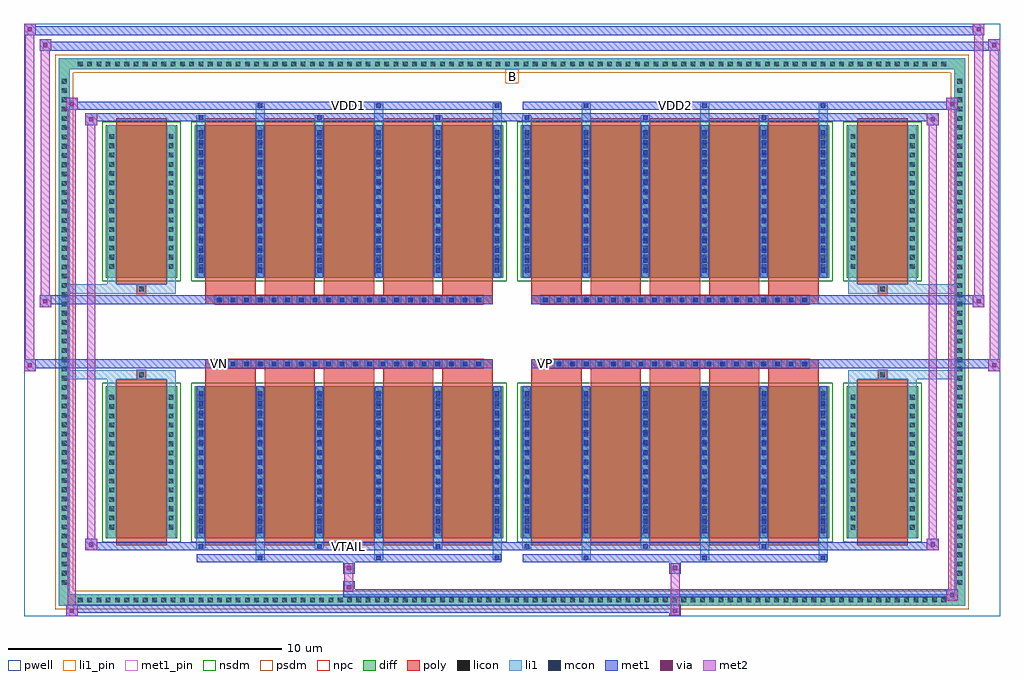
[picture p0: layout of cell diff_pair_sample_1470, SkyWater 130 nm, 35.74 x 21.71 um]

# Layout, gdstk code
import gdstk
lib = gdstk.Library(unit=1e-6, precision=5e-09)
def R(c, l, rs):  # rectangles x0, y0, x1, y1
    for r in rs: c.add(gdstk.rectangle(r[:2], r[2:], *l))
def A(c, l, x, y, w, h, nx, ny, dx, dy):  # array of equal rectangles
    R(c, l, [(x+i*dx, y+j*dy, x+i*dx+w, y+j*dy+h) for i in range(nx) for j in range(ny)])
def P(c, l, *ps):  # polygons
    for p in ps: c.add(gdstk.Polygon(p, *l))
pwell = (64, 44)
diff = (65, 20)
poly = (66, 20)
licon = (66, 44)
li1_pin = (67, 16)
li1 = (67, 20)
mcon = (67, 44)
met1_pin = (68, 16)
met1 = (68, 20)
via = (68, 44)
met2 = (69, 20)
nsdm = (93, 44)
psdm = (94, 20)
npc = (95, 20)

diff_pair_sample_1470 = lib.new_cell('diff_pair_sample_1470')
R(diff_pair_sample_1470, pwell, [(-17.87,-10.42,17.87,11.29), (-15.19,-8.61,-0.01,-0.805), (0.01,-8.61,15.19,-0.805), (-15.19,0.805,-0.01,8.61), (0.01,0.805,15.19,8.61)])
A(diff_pair_sample_1470, diff, -16.015, -10.02, 0.41, 0.41, 94, 2, 0.34, 19.63)
A(diff_pair_sample_1470, diff, -16.6, -9.385, 0.41, 0.41, 1, 55, 0, 0.34)
A(diff_pair_sample_1470, diff, 16.19, -9.385, 0.41, 0.41, 1, 55, 0, 0.34)
R(diff_pair_sample_1470, diff, [(-16.015,-10.02,16.015,-9.61), (-16.6,-9.385,-16.19,9.385), (16.19,-9.385,16.6,9.385), (-14.88,-7.565,-12.26,-1.985), (-11.62,-7.565,-0.32,-1.985), (0.32,-7.565,11.62,-1.985), (12.26,-7.565,14.88,-1.985), (-14.88,1.985,-12.26,7.565), (-11.62,1.985,-0.32,7.565), (0.32,1.985,11.62,7.565), (12.26,1.985,14.88,7.565), (-16.015,9.61,16.015,10.02)])
P(diff_pair_sample_1470, diff, [(16.6,10.02),(-16.6,10.02),(-16.6,-9.61),(-16.19,-9.61),(-16.19,9.61),(16.19,9.61),(16.19,-9.61),(-16.19,-9.61),(-16.6,-9.61),(-16.6,-10.02),(16.6,-10.02)])
A(diff_pair_sample_1470, poly, -11.23, -7.815, 1.84, 6.08, 5, 2, 2.17, 9.55)
A(diff_pair_sample_1470, poly, 0.71, -7.815, 1.84, 6.08, 5, 2, 2.17, 9.55)
A(diff_pair_sample_1470, poly, -11.23, -1.735, 1.84, 0.4, 5, 2, 2.17, 3.07)
A(diff_pair_sample_1470, poly, 0.71, -1.735, 1.84, 0.4, 5, 2, 2.17, 3.07)
A(diff_pair_sample_1470, poly, -10.885, -1.335, 0.33, 0.33, 20, 2, 0.5, 2.34)
A(diff_pair_sample_1470, poly, 1.055, -1.335, 0.33, 0.33, 20, 2, 0.5, 2.34)
R(diff_pair_sample_1470, poly, [(-14.49,-7.815,-12.65,-1.735), (12.65,-7.815,14.49,-1.735), (-13.735,-1.735,-13.405,-1.405), (-13.735,-1.735,-13.405,-1.405), (13.405,-1.735,13.735,-1.405), (13.405,-1.735,13.735,-1.405), (-11.23,-1.335,-0.71,-1.005), (0.71,-1.335,11.23,-1.005), (-11.23,1.005,-0.71,1.335), (0.71,1.005,11.23,1.335), (-13.735,1.405,-13.405,1.735), (-13.735,1.405,-13.405,1.735), (13.405,1.405,13.735,1.735), (13.405,1.405,13.735,1.735), (-14.49,1.735,-12.65,7.815), (12.65,1.735,14.49,7.815)])
A(diff_pair_sample_1470, licon, -15.895, -9.9, 0.17, 0.17, 94, 2, 0.34, 19.63)
A(diff_pair_sample_1470, licon, -16.48, -9.265, 0.17, 0.17, 1, 55, 0, 0.34)
A(diff_pair_sample_1470, licon, 16.31, -9.265, 0.17, 0.17, 1, 55, 0, 0.34)
A(diff_pair_sample_1470, licon, -14.74, -7.24, 0.17, 0.17, 1, 15, 0, 0.34)
A(diff_pair_sample_1470, licon, -12.57, -7.24, 0.17, 0.17, 1, 15, 0, 0.34)
A(diff_pair_sample_1470, licon, -11.48, -7.24, 0.17, 0.17, 6, 15, 2.17, 0.34)
A(diff_pair_sample_1470, licon, 0.46, -7.24, 0.17, 0.17, 6, 15, 2.17, 0.34)
A(diff_pair_sample_1470, licon, 12.4, -7.24, 0.17, 0.17, 1, 15, 0, 0.34)
A(diff_pair_sample_1470, licon, 14.57, -7.24, 0.17, 0.17, 1, 15, 0, 0.34)
A(diff_pair_sample_1470, licon, -10.805, -1.255, 0.17, 0.17, 20, 2, 0.5, 2.34)
A(diff_pair_sample_1470, licon, 1.135, -1.255, 0.17, 0.17, 20, 2, 0.5, 2.34)
A(diff_pair_sample_1470, licon, -14.74, 2.31, 0.17, 0.17, 1, 15, 0, 0.34)
A(diff_pair_sample_1470, licon, -12.57, 2.31, 0.17, 0.17, 1, 15, 0, 0.34)
A(diff_pair_sample_1470, licon, -11.48, 2.31, 0.17, 0.17, 6, 15, 2.17, 0.34)
A(diff_pair_sample_1470, licon, 0.46, 2.31, 0.17, 0.17, 6, 15, 2.17, 0.34)
A(diff_pair_sample_1470, licon, 12.4, 2.31, 0.17, 0.17, 1, 15, 0, 0.34)
A(diff_pair_sample_1470, licon, 14.57, 2.31, 0.17, 0.17, 1, 15, 0, 0.34)
R(diff_pair_sample_1470, licon, [(-13.655,-1.655,-13.485,-1.485), (13.485,-1.655,13.655,-1.485), (-13.655,1.485,-13.485,1.655), (13.485,1.485,13.655,1.655)])
R(diff_pair_sample_1470, li1_pin, [(-0.25,9.11,0.25,9.61)])
A(diff_pair_sample_1470, li1, -15.975, -9.98, 0.33, 0.33, 94, 2, 0.34, 19.63)
A(diff_pair_sample_1470, li1, -16.56, -9.345, 0.33, 0.33, 1, 55, 0, 0.34)
A(diff_pair_sample_1470, li1, 16.23, -9.345, 0.33, 0.33, 1, 55, 0, 0.34)
A(diff_pair_sample_1470, li1, -9.39, -8.37, 0.33, 0.805, 3, 2, 4.34, 15.935)
A(diff_pair_sample_1470, li1, -9.31, -8.37, 0.17, 0.17, 3, 2, 4.34, 16.57)
A(diff_pair_sample_1470, li1, 2.55, -8.37, 0.33, 0.805, 3, 2, 4.34, 15.935)
A(diff_pair_sample_1470, li1, 2.63, -8.37, 0.17, 0.17, 3, 2, 4.34, 16.57)
A(diff_pair_sample_1470, li1, -11.56, -7.94, 0.33, 0.375, 3, 2, 4.34, 15.505)
A(diff_pair_sample_1470, li1, -11.48, -7.94, 0.17, 0.17, 3, 2, 4.34, 15.71)
A(diff_pair_sample_1470, li1, 0.38, -7.94, 0.33, 0.375, 3, 2, 4.34, 15.505)
A(diff_pair_sample_1470, li1, 0.46, -7.94, 0.17, 0.17, 3, 2, 4.34, 15.71)
A(diff_pair_sample_1470, li1, -11.56, -7.565, 0.33, 5.58, 6, 2, 2.17, 9.55)
A(diff_pair_sample_1470, li1, 0.38, -7.565, 0.33, 5.58, 6, 2, 2.17, 9.55)
A(diff_pair_sample_1470, li1, -11.48, -7.38, 0.17, 0.17, 6, 15, 2.17, 0.36)
A(diff_pair_sample_1470, li1, -11.48, -7.38, 0.17, 5.21, 6, 2, 2.17, 9.55)
A(diff_pair_sample_1470, li1, 0.46, -7.38, 0.17, 0.17, 6, 15, 2.17, 0.36)
A(diff_pair_sample_1470, li1, 0.46, -7.38, 0.17, 5.21, 6, 2, 2.17, 9.55)
A(diff_pair_sample_1470, li1, -14.82, -7.32, 0.33, 0.33, 1, 15, 0, 0.34)
A(diff_pair_sample_1470, li1, -12.65, -7.32, 0.33, 0.33, 1, 15, 0, 0.34)
A(diff_pair_sample_1470, li1, -11.56, -7.32, 0.33, 0.33, 6, 15, 2.17, 0.34)
A(diff_pair_sample_1470, li1, 0.38, -7.32, 0.33, 0.33, 6, 15, 2.17, 0.34)
A(diff_pair_sample_1470, li1, 12.32, -7.32, 0.33, 0.33, 1, 15, 0, 0.34)
A(diff_pair_sample_1470, li1, 14.49, -7.32, 0.33, 0.33, 1, 15, 0, 0.34)
A(diff_pair_sample_1470, li1, -10.885, -1.335, 0.33, 0.33, 20, 2, 0.5, 2.34)
A(diff_pair_sample_1470, li1, 1.055, -1.335, 0.33, 0.33, 20, 2, 0.5, 2.34)
A(diff_pair_sample_1470, li1, -11.48, 2.17, 0.17, 0.17, 6, 15, 2.17, 0.36)
A(diff_pair_sample_1470, li1, 0.46, 2.17, 0.17, 0.17, 6, 15, 2.17, 0.36)
A(diff_pair_sample_1470, li1, -14.82, 2.23, 0.33, 0.33, 1, 15, 0, 0.34)
A(diff_pair_sample_1470, li1, -12.65, 2.23, 0.33, 0.33, 1, 15, 0, 0.34)
A(diff_pair_sample_1470, li1, -11.56, 2.23, 0.33, 0.33, 6, 15, 2.17, 0.34)
A(diff_pair_sample_1470, li1, 0.38, 2.23, 0.33, 0.33, 6, 15, 2.17, 0.34)
A(diff_pair_sample_1470, li1, 12.32, 2.23, 0.33, 0.33, 1, 15, 0, 0.34)
A(diff_pair_sample_1470, li1, 14.49, 2.23, 0.33, 0.33, 1, 15, 0, 0.34)
R(diff_pair_sample_1470, li1, [(-16.6,-10.02,-16.19,-9.61), (-16.6,-10.02,-16.19,-9.61), (-16.19,-10.02,16.19,-9.61), (16.19,-10.02,16.6,-9.61), (16.19,-10.02,16.6,-9.61), (-16.6,-9.61,-16.19,9.61), (16.19,-9.61,16.6,9.61), (-14.82,-7.565,-14.49,-1.985), (-12.65,-7.565,-12.32,-1.985), (12.32,-7.565,12.65,-1.985), (14.49,-7.565,14.82,-1.985), (-14.82,-1.985,-14.49,-1.405), (-12.65,-1.985,-12.32,-1.405), (12.32,-1.985,12.65,-1.405), (14.49,-1.985,14.82,-1.405), (-16.6,-1.735,-13.735,-1.405), (-14.82,-1.735,-13.735,-1.405), (-13.735,-1.735,-13.405,-1.405), (-13.405,-1.735,-12.32,-1.405), (12.32,-1.735,13.405,-1.405), (13.405,-1.735,13.735,-1.405), (13.405,-1.735,16.6,-1.405), (13.735,-1.735,14.82,-1.405), (-16.6,1.405,-13.735,1.735), (-14.82,1.405,-13.735,1.735), (-14.82,1.405,-14.49,1.985), (-13.735,1.405,-13.405,1.735), (-13.405,1.405,-12.32,1.735), (-12.65,1.405,-12.32,1.985), (12.32,1.405,13.405,1.735), (12.32,1.405,12.65,1.985), (13.405,1.405,13.735,1.735), (13.405,1.405,16.6,1.735), (13.735,1.405,14.82,1.735), (14.49,1.405,14.82,1.985), (-14.82,1.985,-14.49,7.565), (-12.65,1.985,-12.32,7.565), (12.32,1.985,12.65,7.565), (14.49,1.985,14.82,7.565), (-16.6,9.61,-16.19,10.02), (-16.6,9.61,-16.19,10.02), (-16.19,9.61,16.19,10.02), (16.19,9.61,16.6,10.02), (16.19,9.61,16.6,10.02)])
A(diff_pair_sample_1470, mcon, -9.31, -8.37, 0.17, 0.17, 3, 2, 4.34, 16.57)
A(diff_pair_sample_1470, mcon, 2.63, -8.37, 0.17, 0.17, 3, 2, 4.34, 16.57)
A(diff_pair_sample_1470, mcon, -11.48, -7.94, 0.17, 0.17, 3, 2, 4.34, 15.71)
A(diff_pair_sample_1470, mcon, 0.46, -7.94, 0.17, 0.17, 3, 2, 4.34, 15.71)
A(diff_pair_sample_1470, mcon, -11.48, -7.38, 0.17, 0.17, 6, 15, 2.17, 0.36)
A(diff_pair_sample_1470, mcon, 0.46, -7.38, 0.17, 0.17, 6, 15, 2.17, 0.36)
A(diff_pair_sample_1470, mcon, -10.805, -1.255, 0.17, 0.17, 20, 2, 0.5, 2.34)
A(diff_pair_sample_1470, mcon, 1.135, -1.255, 0.17, 0.17, 20, 2, 0.5, 2.34)
A(diff_pair_sample_1470, mcon, -11.48, 2.17, 0.17, 0.17, 6, 15, 2.17, 0.36)
A(diff_pair_sample_1470, mcon, 0.46, 2.17, 0.17, 0.17, 6, 15, 2.17, 0.36)
R(diff_pair_sample_1470, met1_pin, [(-6.105,-7.98,-5.835,-7.71), (-10.855,-1.295,-10.585,-1.025), (1.085,-1.295,1.355,-1.025), (-6.105,8.16,-5.835,8.43), (5.835,8.16,6.105,8.43)])
A(diff_pair_sample_1470, met1, -9.37, -8.43, 0.29, 0.29, 3, 2, 4.34, 16.57)
A(diff_pair_sample_1470, met1, 2.57, -8.43, 0.29, 0.29, 3, 2, 4.34, 16.57)
A(diff_pair_sample_1470, met1, -11.54, -8, 0.29, 0.29, 3, 2, 4.34, 15.71)
A(diff_pair_sample_1470, met1, 0.4, -8, 0.29, 0.29, 3, 2, 4.34, 15.71)
A(diff_pair_sample_1470, met1, -11.54, -7.565, 0.29, 5.58, 6, 2, 2.17, 9.55)
A(diff_pair_sample_1470, met1, 0.4, -7.565, 0.29, 5.58, 6, 2, 2.17, 9.55)
A(diff_pair_sample_1470, met1, -11.54, -7.44, 0.29, 0.29, 6, 15, 2.17, 0.36)
A(diff_pair_sample_1470, met1, 0.4, -7.44, 0.29, 0.29, 6, 15, 2.17, 0.36)
A(diff_pair_sample_1470, met1, -10.865, -1.315, 0.29, 0.29, 20, 2, 0.5, 2.34)
A(diff_pair_sample_1470, met1, 1.075, -1.315, 0.29, 0.29, 20, 2, 0.5, 2.34)
A(diff_pair_sample_1470, met1, -11.54, 2.11, 0.29, 0.29, 6, 15, 2.17, 0.36)
A(diff_pair_sample_1470, met1, 0.4, 2.11, 0.29, 0.29, 6, 15, 2.17, 0.36)
R(diff_pair_sample_1470, met1, [(-16.33,-10.42,-15.9,-9.99), (5.755,-10.42,6.185,-9.99), (-16.33,-10.28,6.185,-9.99), (15.9,-9.85,16.33,-9.42), (-6.185,-9.71,16.33,-9.42), (-6.185,-9.57,-5.755,-9.14), (-6.185,-8.86,-5.755,-8.43), (5.755,-8.86,6.185,-8.43), (-11.54,-8.43,-0.4,-8.14), (0.4,-8.43,11.54,-8.14), (-15.62,-8,-15.19,-7.57), (-15.62,-8,-11.54,-7.71), (-11.54,-8,-0.4,-7.71), (-0.4,-8,0.4,-7.71), (0.4,-8,11.54,-7.71), (11.54,-8,15.62,-7.71), (15.19,-8,15.62,-7.57), (-17.87,-1.435,-17.44,-1.005), (17.44,-1.435,17.87,-1.005), (-17.87,-1.335,-0.71,-1.005), (-11.23,-1.335,-0.71,-1.005), (0.71,-1.335,11.23,-1.005), (0.71,-1.335,17.87,-1.005), (-17.3,0.905,-16.87,1.335), (16.87,0.905,17.3,1.335), (-17.3,1.005,-11.23,1.335), (-11.23,1.005,-0.71,1.335), (0.71,1.005,11.23,1.335), (11.23,1.005,17.3,1.335), (-15.62,7.57,-15.19,8), (15.19,7.57,15.62,8), (-15.62,7.71,-11.54,8), (-11.54,7.71,-0.4,8), (-0.4,7.71,0.4,8), (0.4,7.71,11.54,8), (11.54,7.71,15.62,8), (-16.33,8.14,-15.9,8.57), (-16.33,8.14,-11.54,8.43), (-11.54,8.14,-0.4,8.43), (0.4,8.14,11.54,8.43), (11.54,8.14,16.33,8.43), (15.9,8.14,16.33,8.57), (-17.3,10.29,-16.87,10.72), (-17.3,10.29,-15.19,10.62), (-15.19,10.29,15.19,10.62), (15.19,10.29,17.87,10.62), (17.44,10.29,17.87,10.72), (-17.87,10.86,-17.44,11.29), (-17.87,10.86,-15.19,11.19), (-15.19,10.86,15.19,11.19), (15.19,10.86,17.3,11.19), (16.87,10.86,17.3,11.29)])
R(diff_pair_sample_1470, via, [(-16.19,-10.28,-16.04,-10.13), (5.895,-10.28,6.045,-10.13), (16.04,-9.71,16.19,-9.56), (-6.045,-9.43,-5.895,-9.28), (-6.045,-8.72,-5.895,-8.57), (5.895,-8.72,6.045,-8.57), (-15.48,-7.86,-15.33,-7.71), (15.33,-7.86,15.48,-7.71), (-17.73,-1.295,-17.58,-1.145), (17.58,-1.295,17.73,-1.145), (-17.16,1.045,-17.01,1.195), (17.01,1.045,17.16,1.195), (-15.48,7.71,-15.33,7.86), (15.33,7.71,15.48,7.86), (-16.19,8.28,-16.04,8.43), (16.04,8.28,16.19,8.43), (-17.16,10.43,-17.01,10.58), (17.58,10.43,17.73,10.58), (-17.73,11,-17.58,11.15), (17.01,11,17.16,11.15)])
R(diff_pair_sample_1470, met2, [(-16.33,-10.42,-15.9,-9.99), (-16.26,-10.42,-15.97,8.57), (-15.97,-10.42,-15.9,-9.99), (-16.28,-10.37,-15.95,-10.04), (5.805,-10.37,6.135,-10.04), (5.805,-10.04,6.135,-8.81), (15.9,-9.85,16.33,-9.42), (15.97,-9.85,16.26,8.57), (16.26,-9.85,16.33,-9.42), (15.95,-9.8,16.28,-9.47), (-6.135,-9.52,-5.805,-9.19), (-6.135,-9.19,-5.805,-8.81), (-6.135,-8.81,-5.805,-8.48), (5.805,-8.81,6.135,-8.48), (-15.62,-8,-15.19,-7.57), (-15.55,-8,-15.26,8), (-15.26,-8,-15.19,-7.57), (15.19,-8,15.62,-7.57), (15.26,-8,15.55,8), (15.55,-8,15.62,-7.57), (-15.57,-7.95,-15.24,-7.62), (15.24,-7.95,15.57,-7.62), (-17.87,-1.435,-17.44,-1.005), (-17.82,-1.435,-17.49,11.29), (-17.49,-1.435,-17.44,-1.005), (17.44,-1.435,17.87,-1.005), (17.49,-1.435,17.82,10.72), (17.82,-1.435,17.87,-1.005), (-17.82,-1.385,-17.49,-1.055), (17.49,-1.385,17.82,-1.055), (-17.3,0.905,-16.87,1.335), (-17.25,0.905,-16.92,10.72), (-16.92,0.905,-16.87,1.335), (16.87,0.905,17.3,1.335), (16.92,0.905,17.25,11.29), (17.25,0.905,17.3,1.335), (-17.25,0.955,-16.92,1.285), (16.92,0.955,17.25,1.285), (-15.62,7.57,-15.19,8), (-15.26,7.57,-15.19,8), (15.19,7.57,15.62,8), (15.55,7.57,15.62,8), (-15.57,7.62,-15.24,7.95), (15.24,7.62,15.57,7.95), (-16.33,8.14,-15.9,8.57), (-15.97,8.14,-15.9,8.57), (15.9,8.14,16.33,8.57), (16.26,8.14,16.33,8.57), (-16.28,8.19,-15.95,8.52), (15.95,8.19,16.28,8.52), (-17.3,10.29,-16.87,10.72), (-16.92,10.29,-16.87,10.72), (17.44,10.29,17.87,10.72), (17.82,10.29,17.87,10.72), (-17.25,10.34,-16.92,10.67), (17.49,10.34,17.82,10.67), (-17.87,10.86,-17.44,11.29), (-17.49,10.86,-17.44,11.29), (16.87,10.86,17.3,11.29), (17.25,10.86,17.3,11.29), (-17.82,10.91,-17.49,11.24), (16.92,10.91,17.25,11.24)])
R(diff_pair_sample_1470, nsdm, [(-15.01,-7.695,-12.13,-1.855), (-11.75,-7.695,-0.19,-1.855), (0.19,-7.695,11.75,-1.855), (12.13,-7.695,15.01,-1.855), (-15.01,1.855,-12.13,7.695), (-11.75,1.855,-0.19,7.695), (0.19,1.855,11.75,7.695), (12.13,1.855,15.01,7.695)])
P(diff_pair_sample_1470, psdm, [(16.73,10.15),(-16.73,10.15),(-16.73,-9.48),(-16.06,-9.48),(-16.06,9.48),(16.06,9.48),(16.06,-9.48),(-16.06,-9.48),(-16.73,-9.48),(-16.73,-10.15),(16.73,-10.15)])
A(diff_pair_sample_1470, npc, -10.905, -1.355, 0.37, 0.37, 20, 2, 0.5, 2.34)
A(diff_pair_sample_1470, npc, 1.035, -1.355, 0.37, 0.37, 20, 2, 0.5, 2.34)
R(diff_pair_sample_1470, npc, [(-13.755,-1.755,-13.385,-1.385), (13.385,-1.755,13.755,-1.385), (-10.905,-1.355,-10.035,-0.985), (-10.905,-1.355,-10.035,-0.985), (-10.405,-1.355,-9.535,-0.985), (-10.405,-1.355,-9.535,-0.985), (-9.905,-1.355,-9.035,-0.985), (-9.905,-1.355,-9.035,-0.985), (-9.405,-1.355,-8.535,-0.985), (-9.405,-1.355,-8.535,-0.985), (-8.905,-1.355,-8.035,-0.985), (-8.905,-1.355,-8.035,-0.985), (-8.405,-1.355,-7.535,-0.985), (-8.405,-1.355,-7.535,-0.985), (-7.905,-1.355,-7.035,-0.985), (-7.905,-1.355,-7.035,-0.985), (-7.405,-1.355,-6.535,-0.985), (-7.405,-1.355,-6.535,-0.985), (-6.905,-1.355,-6.035,-0.985), (-6.905,-1.355,-6.035,-0.985), (-6.405,-1.355,-5.535,-0.985), (-6.405,-1.355,-5.535,-0.985), (-5.905,-1.355,-5.035,-0.985), (-5.905,-1.355,-5.035,-0.985), (-5.405,-1.355,-4.535,-0.985), (-5.405,-1.355,-4.535,-0.985), (-4.905,-1.355,-4.035,-0.985), (-4.905,-1.355,-4.035,-0.985), (-4.405,-1.355,-3.535,-0.985), (-4.405,-1.355,-3.535,-0.985), (-3.905,-1.355,-3.035,-0.985), (-3.905,-1.355,-3.035,-0.985), (-3.405,-1.355,-2.535,-0.985), (-3.405,-1.355,-2.535,-0.985), (-2.905,-1.355,-2.035,-0.985), (-2.905,-1.355,-2.035,-0.985), (-2.405,-1.355,-1.535,-0.985), (-2.405,-1.355,-1.535,-0.985), (-1.905,-1.355,-1.035,-0.985), (-1.905,-1.355,-1.035,-0.985), (1.035,-1.355,1.905,-0.985), (1.035,-1.355,1.905,-0.985), (1.535,-1.355,2.405,-0.985), (1.535,-1.355,2.405,-0.985), (2.035,-1.355,2.905,-0.985), (2.035,-1.355,2.905,-0.985), (2.535,-1.355,3.405,-0.985), (2.535,-1.355,3.405,-0.985), (3.035,-1.355,3.905,-0.985), (3.035,-1.355,3.905,-0.985), (3.535,-1.355,4.405,-0.985), (3.535,-1.355,4.405,-0.985), (4.035,-1.355,4.905,-0.985), (4.035,-1.355,4.905,-0.985), (4.535,-1.355,5.405,-0.985), (4.535,-1.355,5.405,-0.985), (5.035,-1.355,5.905,-0.985), (5.035,-1.355,5.905,-0.985), (5.535,-1.355,6.405,-0.985), (5.535,-1.355,6.405,-0.985), (6.035,-1.355,6.905,-0.985), (6.035,-1.355,6.905,-0.985), (6.535,-1.355,7.405,-0.985), (6.535,-1.355,7.405,-0.985), (7.035,-1.355,7.905,-0.985), (7.035,-1.355,7.905,-0.985), (7.535,-1.355,8.405,-0.985), (7.535,-1.355,8.405,-0.985), (8.035,-1.355,8.905,-0.985), (8.035,-1.355,8.905,-0.985), (8.535,-1.355,9.405,-0.985), (8.535,-1.355,9.405,-0.985), (9.035,-1.355,9.905,-0.985), (9.035,-1.355,9.905,-0.985), (9.535,-1.355,10.405,-0.985), (9.535,-1.355,10.405,-0.985), (10.035,-1.355,10.905,-0.985), (10.035,-1.355,10.905,-0.985), (-10.905,0.985,-10.035,1.355), (-10.905,0.985,-10.035,1.355), (-10.405,0.985,-9.535,1.355), (-10.405,0.985,-9.535,1.355), (-9.905,0.985,-9.035,1.355), (-9.905,0.985,-9.035,1.355), (-9.405,0.985,-8.535,1.355), (-9.405,0.985,-8.535,1.355), (-8.905,0.985,-8.035,1.355), (-8.905,0.985,-8.035,1.355), (-8.405,0.985,-7.535,1.355), (-8.405,0.985,-7.535,1.355), (-7.905,0.985,-7.035,1.355), (-7.905,0.985,-7.035,1.355), (-7.405,0.985,-6.535,1.355), (-7.405,0.985,-6.535,1.355), (-6.905,0.985,-6.035,1.355), (-6.905,0.985,-6.035,1.355), (-6.405,0.985,-5.535,1.355), (-6.405,0.985,-5.535,1.355), (-5.905,0.985,-5.035,1.355), (-5.905,0.985,-5.035,1.355), (-5.405,0.985,-4.535,1.355), (-5.405,0.985,-4.535,1.355), (-4.905,0.985,-4.035,1.355), (-4.905,0.985,-4.035,1.355), (-4.405,0.985,-3.535,1.355), (-4.405,0.985,-3.535,1.355), (-3.905,0.985,-3.035,1.355), (-3.905,0.985,-3.035,1.355), (-3.405,0.985,-2.535,1.355), (-3.405,0.985,-2.535,1.355), (-2.905,0.985,-2.035,1.355), (-2.905,0.985,-2.035,1.355), (-2.405,0.985,-1.535,1.355), (-2.405,0.985,-1.535,1.355), (-1.905,0.985,-1.035,1.355), (-1.905,0.985,-1.035,1.355), (1.035,0.985,1.905,1.355), (1.035,0.985,1.905,1.355), (1.535,0.985,2.405,1.355), (1.535,0.985,2.405,1.355), (2.035,0.985,2.905,1.355), (2.035,0.985,2.905,1.355), (2.535,0.985,3.405,1.355), (2.535,0.985,3.405,1.355), (3.035,0.985,3.905,1.355), (3.035,0.985,3.905,1.355), (3.535,0.985,4.405,1.355), (3.535,0.985,4.405,1.355), (4.035,0.985,4.905,1.355), (4.035,0.985,4.905,1.355), (4.535,0.985,5.405,1.355), (4.535,0.985,5.405,1.355), (5.035,0.985,5.905,1.355), (5.035,0.985,5.905,1.355), (5.535,0.985,6.405,1.355), (5.535,0.985,6.405,1.355), (6.035,0.985,6.905,1.355), (6.035,0.985,6.905,1.355), (6.535,0.985,7.405,1.355), (6.535,0.985,7.405,1.355), (7.035,0.985,7.905,1.355), (7.035,0.985,7.905,1.355), (7.535,0.985,8.405,1.355), (7.535,0.985,8.405,1.355), (8.035,0.985,8.905,1.355), (8.035,0.985,8.905,1.355), (8.535,0.985,9.405,1.355), (8.535,0.985,9.405,1.355), (9.035,0.985,9.905,1.355), (9.035,0.985,9.905,1.355), (9.535,0.985,10.405,1.355), (9.535,0.985,10.405,1.355), (10.035,0.985,10.905,1.355), (10.035,0.985,10.905,1.355), (-13.755,1.385,-13.385,1.755), (13.385,1.385,13.755,1.755)])
diff_pair_sample_1470.add(gdstk.Label('VTAIL', (-5.97,-7.845), layer=68, texttype=5))
diff_pair_sample_1470.add(gdstk.Label('VN', (-10.72,-1.16), layer=68, texttype=5))
diff_pair_sample_1470.add(gdstk.Label('VP', (1.22,-1.16), layer=68, texttype=5))
diff_pair_sample_1470.add(gdstk.Label('B', (0,9.36), layer=67, texttype=5))
diff_pair_sample_1470.add(gdstk.Label('VDD2', (5.97,8.295), layer=68, texttype=5))
diff_pair_sample_1470.add(gdstk.Label('VDD1', (-5.97,8.295), layer=68, texttype=5))

lib.write_gds('diff_pair_sample_1470.gds')
